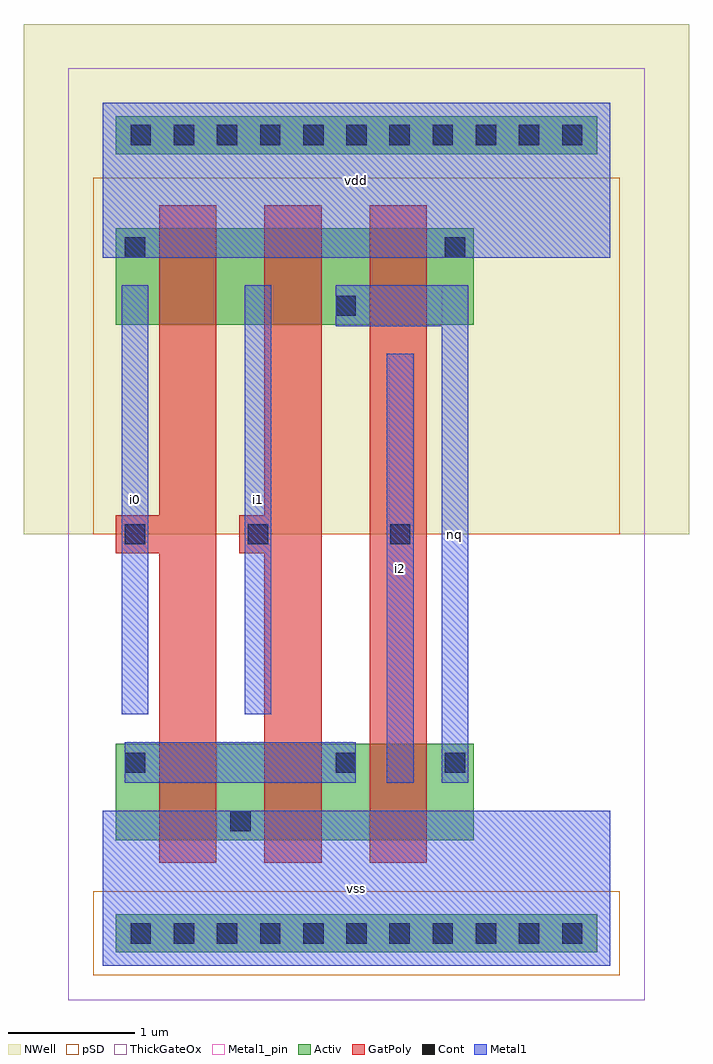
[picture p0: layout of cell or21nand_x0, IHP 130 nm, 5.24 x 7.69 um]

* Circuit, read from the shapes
.subckt or21nand_x0 i0 i1 i2 nq vdd vss
XM1 vss i0 n1 vss sg13_hv_nmos w=0.76u l=0.45u
XM2 n1 i1 vss vss sg13_hv_nmos w=0.76u l=0.45u
XM3 nq i2 n1 vss sg13_hv_nmos w=0.76u l=0.45u
XM4 n2 i0 vdd vdd sg13_hv_pmos w=0.76u l=0.45u
XM5 nq i1 n2 vdd sg13_hv_pmos w=0.76u l=0.45u
XM6 vdd i2 nq vdd sg13_hv_pmos w=0.76u l=0.45u
.ends

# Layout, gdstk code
import gdstk
lib = gdstk.Library(unit=1e-6, precision=1e-09)
def R(c, l, rs):  # rectangles x0, y0, x1, y1
    for r in rs: c.add(gdstk.rectangle(r[:2], r[2:], *l))
def A(c, l, x, y, w, h, nx, ny, dx, dy):  # array of equal rectangles
    R(c, l, [(x+i*dx, y+j*dy, x+i*dx+w, y+j*dy+h) for i in range(nx) for j in range(ny)])
def P(c, l, *ps):  # polygons
    for p in ps: c.add(gdstk.Polygon(p, *l))
Activ = (1, 0)
GatPoly = (5, 0)
Cont = (6, 0)
Metal1 = (8, 0)
Metal1_pin = (8, 2)
pSD = (14, 0)
NWell = (31, 0)
ThickGateOx = (44, 0)

or21nand_x0 = lib.new_cell('or21nand_x0')
R(or21nand_x0, Activ, [(0.105,0.105,3.895,0.405), (0.105,0.99,2.925,1.75), (0.105,5.05,2.925,5.81), (0.105,6.395,3.895,6.695)])
R(or21nand_x0, GatPoly, [(2.105,0.81,2.555,5.99)])
P(or21nand_x0, GatPoly, [(0.445,0.81),(0.445,3.25),(0.105,3.25),(0.105,3.55),(0.445,3.55),(0.445,5.99),(0.895,5.99),(0.895,0.81)],
  [(1.275,0.81),(1.275,3.25),(1.075,3.25),(1.075,3.55),(1.275,3.55),(1.275,5.99),(1.725,5.99),(1.725,0.81)])
A(or21nand_x0, Cont, 0.22, 0.175, 0.16, 0.16, 11, 2, 0.34, 6.29)
R(or21nand_x0, Cont, [(1.005,1.06,1.165,1.22), (0.175,1.52,0.335,1.68), (1.835,1.52,1.995,1.68), (2.695,1.52,2.855,1.68), (0.175,3.32,0.335,3.48), (1.145,3.32,1.305,3.48), (2.265,3.32,2.425,3.48), (1.835,5.12,1.995,5.28), (0.175,5.58,0.335,5.74), (2.695,5.58,2.855,5.74)])
R(or21nand_x0, Metal1, [(0,0,4,1.22), (0.175,1.44,1.995,1.76), (2.24,1.44,2.45,4.82), (0.15,1.98,0.36,5.36), (1.12,1.98,1.33,5.36), (0,5.58,4,6.8)])
P(or21nand_x0, Metal1, [(2.67,1.44),(2.67,5.04),(1.835,5.04),(1.835,5.36),(2.88,5.36),(2.88,1.44)])
R(or21nand_x0, Metal1_pin, [(0,0,4,1.22), (2.24,1.44,2.45,4.82), (2.67,1.44,2.88,5.36), (0.15,1.98,0.36,5.36), (1.12,1.98,1.33,5.36), (0,5.58,4,6.8)])
R(or21nand_x0, pSD, [(-0.075,-0.075,4.075,0.585), (-0.075,3.4,4.075,6.21)])
R(or21nand_x0, NWell, [(-0.62,3.4,4.62,7.42)])
R(or21nand_x0, ThickGateOx, [(-0.27,-0.27,4.27,7.07)])
or21nand_x0.add(gdstk.Label('vdd', (2,6.19), layer=8, texttype=2))
or21nand_x0.add(gdstk.Label('vss', (2,0.61), layer=8, texttype=2))
or21nand_x0.add(gdstk.Label('i0', (0.255,3.67), layer=8, texttype=2))
or21nand_x0.add(gdstk.Label('i1', (1.225,3.67), layer=8, texttype=2))
or21nand_x0.add(gdstk.Label('nq', (2.775,3.4), layer=8, texttype=2))
or21nand_x0.add(gdstk.Label('i2', (2.345,3.13), layer=8, texttype=2))

lib.write_gds('or21nand_x0.gds')
